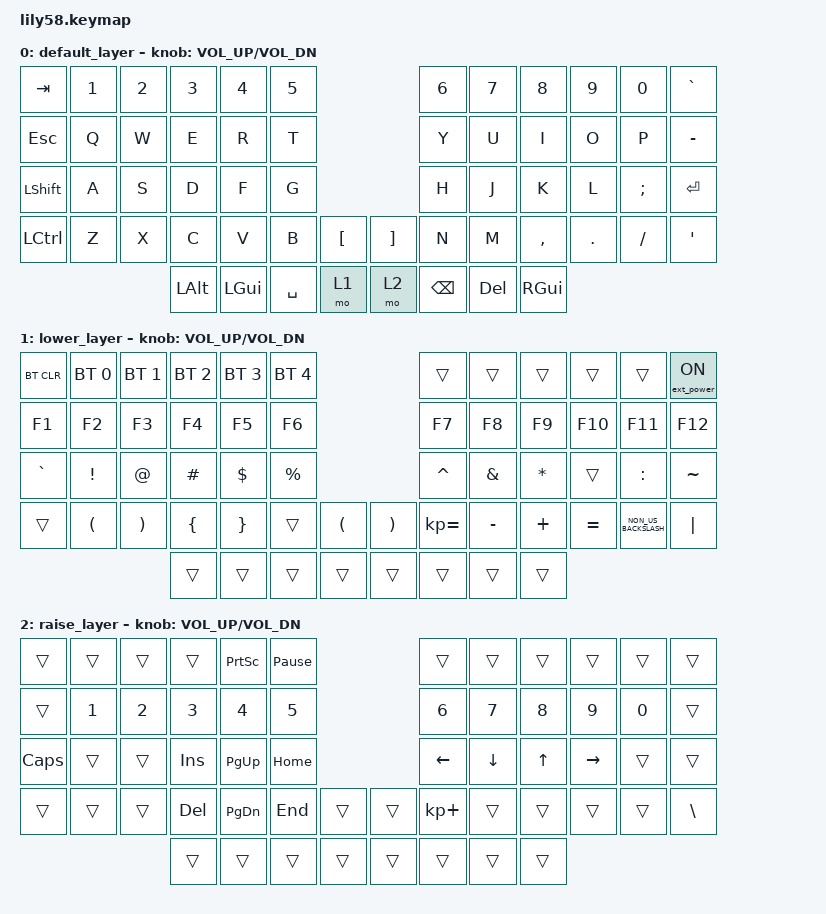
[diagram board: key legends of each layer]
#include <behaviors.dtsi>
#include <dt-bindings/zmk/bt.h>
#include <dt-bindings/zmk/ext_power.h>
#include <dt-bindings/zmk/keys.h>

/ {
    keymap {
        compatible = "zmk,keymap";

        default_layer {
            // ------------------------------------------------------------------------------------------------------------
            // |  TAB  |  1  |  2  |  3   |  4   |  5   |                   |  6   |  7    |  8    |  9   |   0   |   `   |
            // |  ESC  |  Q  |  W  |  E   |  R   |  T   |                   |  Y   |  U    |  I    |  O   |   P   |   -   |
            // | SHIFT |  A  |  S  |  D   |  F   |  G   |                   |  H   |  J    |  K    |  L   |   ;   |   '   |
            // |  CTRL |  Z  |  X  |  C   |  V   |  B   |   "["  |  |  "]"  |  N   |  M    |  ,    |  .   |   /   | ENTER |
            //                     | ALT  | GUI  | SPACE|  LOWER |  | RAISE | ENTER | BSPC  | GUI   |

            bindings = <
&kp TAB     &kp N1  &kp N2  &kp N3    &kp N4    &kp N5                           &kp N6         &kp N7      &kp N8     &kp N9   &kp N0    &kp GRAVE
&kp ESCAPE  &kp Q   &kp W   &kp E     &kp R     &kp T                            &kp Y          &kp U       &kp I      &kp O    &kp P     &kp MINUS
&kp LSHFT   &kp A   &kp S   &kp D     &kp F     &kp G                            &kp H          &kp J       &kp K      &kp L    &kp SEMI  &kp RETURN
&kp LCTRL   &kp Z   &kp X   &kp C     &kp V     &kp B      &kp LBKT    &kp RBKT  &kp N          &kp M       &kp COMMA  &kp DOT  &kp FSLH  &kp SINGLE_QUOTE
                            &kp LALT  &kp LGUI  &kp SPACE  &mo 1       &mo 2     &kp BACKSPACE  &kp DELETE  &kp RGUI
            >;

            sensor-bindings = <&inc_dec_kp C_VOL_UP C_VOL_DN>;
        };

        lower_layer {
            // ------------------------------------------------------------------------------------------------------------
            // | BTCLR | BT1 | BT2 |  BT3 |  BT4 |  BT5 |                   |      |       |       |      |       | &ext_power EP_ON      |
            // |  F1   |  F2 |  F3 |  F4  |  F5  |  F6  |                   |  F7  |  F8   |  F9   |  F10 |  F11  |  F12  |
            // |   `   |  !  |  @  |  #   |  $   |  %   |                   |  ^   |  &    |  *    |  (   |   )   |   ~   |
            // |       |     |     |      |      |      |    (   |  |   )   |      |  _    |  +    |  {   |   }   |  "|"  |
            //                     |      |      |      |        |  |       |      |       |       |
// &bt BT_CLR  &bt BT_SEL 0          &bt BT_SEL 1           &bt BT_SEL 2    &bt BT_SEL 3     &bt BT_SEL 4                      &ext_power EP_ON  &ext_power EP_OFF  &ext_power EP_TOG  &trans     &trans                &trans



            bindings = <
&bt BT_CLR  &bt BT_SEL 0          &bt BT_SEL 1           &bt BT_SEL 2    &bt BT_SEL 3     &bt BT_SEL 4                        &trans            &trans             &trans             &trans     &trans                &ext_power EP_ON
&kp F1      &kp F2                &kp F3                 &kp F4          &kp F5           &kp F6                              &kp F7            &kp F8             &kp F9             &kp F10    &kp F11               &kp F12
&kp GRAVE   &kp EXCL              &kp AT                 &kp HASH        &kp DOLLAR       &kp PRCNT                           &kp CARET         &kp AMPS           &kp ASTRK          &trans     &kp COLON             &kp TILDE
&trans      &kp LEFT_PARENTHESIS  &kp RIGHT_PARENTHESIS  &kp LEFT_BRACE  &kp RIGHT_BRACE  &trans        &kp LPAR    &kp RPAR  &kp KP_EQUAL      &kp MINUS          &kp PLUS           &kp EQUAL  &kp NON_US_BACKSLASH  &kp PIPE
                                                         &trans          &trans           &trans        &trans      &trans    &trans            &trans             &trans
            >;






            sensor-bindings = <&inc_dec_kp C_VOL_UP C_VOL_DN>;
        };

        raise_layer {
            // ------------------------------------------------------------------------------------------------------------
            // |       |     |     |      |      |      |                   |      |       |       |      |       |       |
            // |   `   |  1  |  2  |  3   |  4   |  5   |                   |  6   |   7   |   8   |  9   |   0   |       |
            // |       |     |     |  INS | PG_U | HOME |                   |      |   <-  |   v   |  ^   |  ->   |       |
            // |       |     |     |  DEL | PG_D |  END |        |  |       |  +   |   -   |   =   |  [   |   ]   |   \   |
            //                     |      |      |      |        |  |       |      |       |       |

            bindings = <
&trans        &trans  &trans  &trans      &kp PRINTSCREEN  &kp PAUSE_BREAK                    &trans       &trans          &trans        &trans     &trans  &trans
&trans        &kp N1  &kp N2  &kp N3      &kp N4           &kp N5                             &kp N6       &kp N7          &kp N8        &kp N9     &kp N0  &trans
&kp CAPSLOCK  &trans  &trans  &kp INSERT  &kp PAGE_UP      &kp HOME                           &kp LEFT     &kp DOWN_ARROW  &kp UP_ARROW  &kp RIGHT  &trans  &trans
&trans        &trans  &trans  &kp DELETE  &kp PAGE_DOWN    &kp END          &trans    &trans  &kp KP_PLUS  &trans          &trans        &trans     &trans  &kp BSLH
                              &trans      &trans           &trans           &trans    &trans  &trans       &trans          &trans
            >;

            sensor-bindings = <&inc_dec_kp C_VOL_UP C_VOL_DN>;
        };
    };
};
